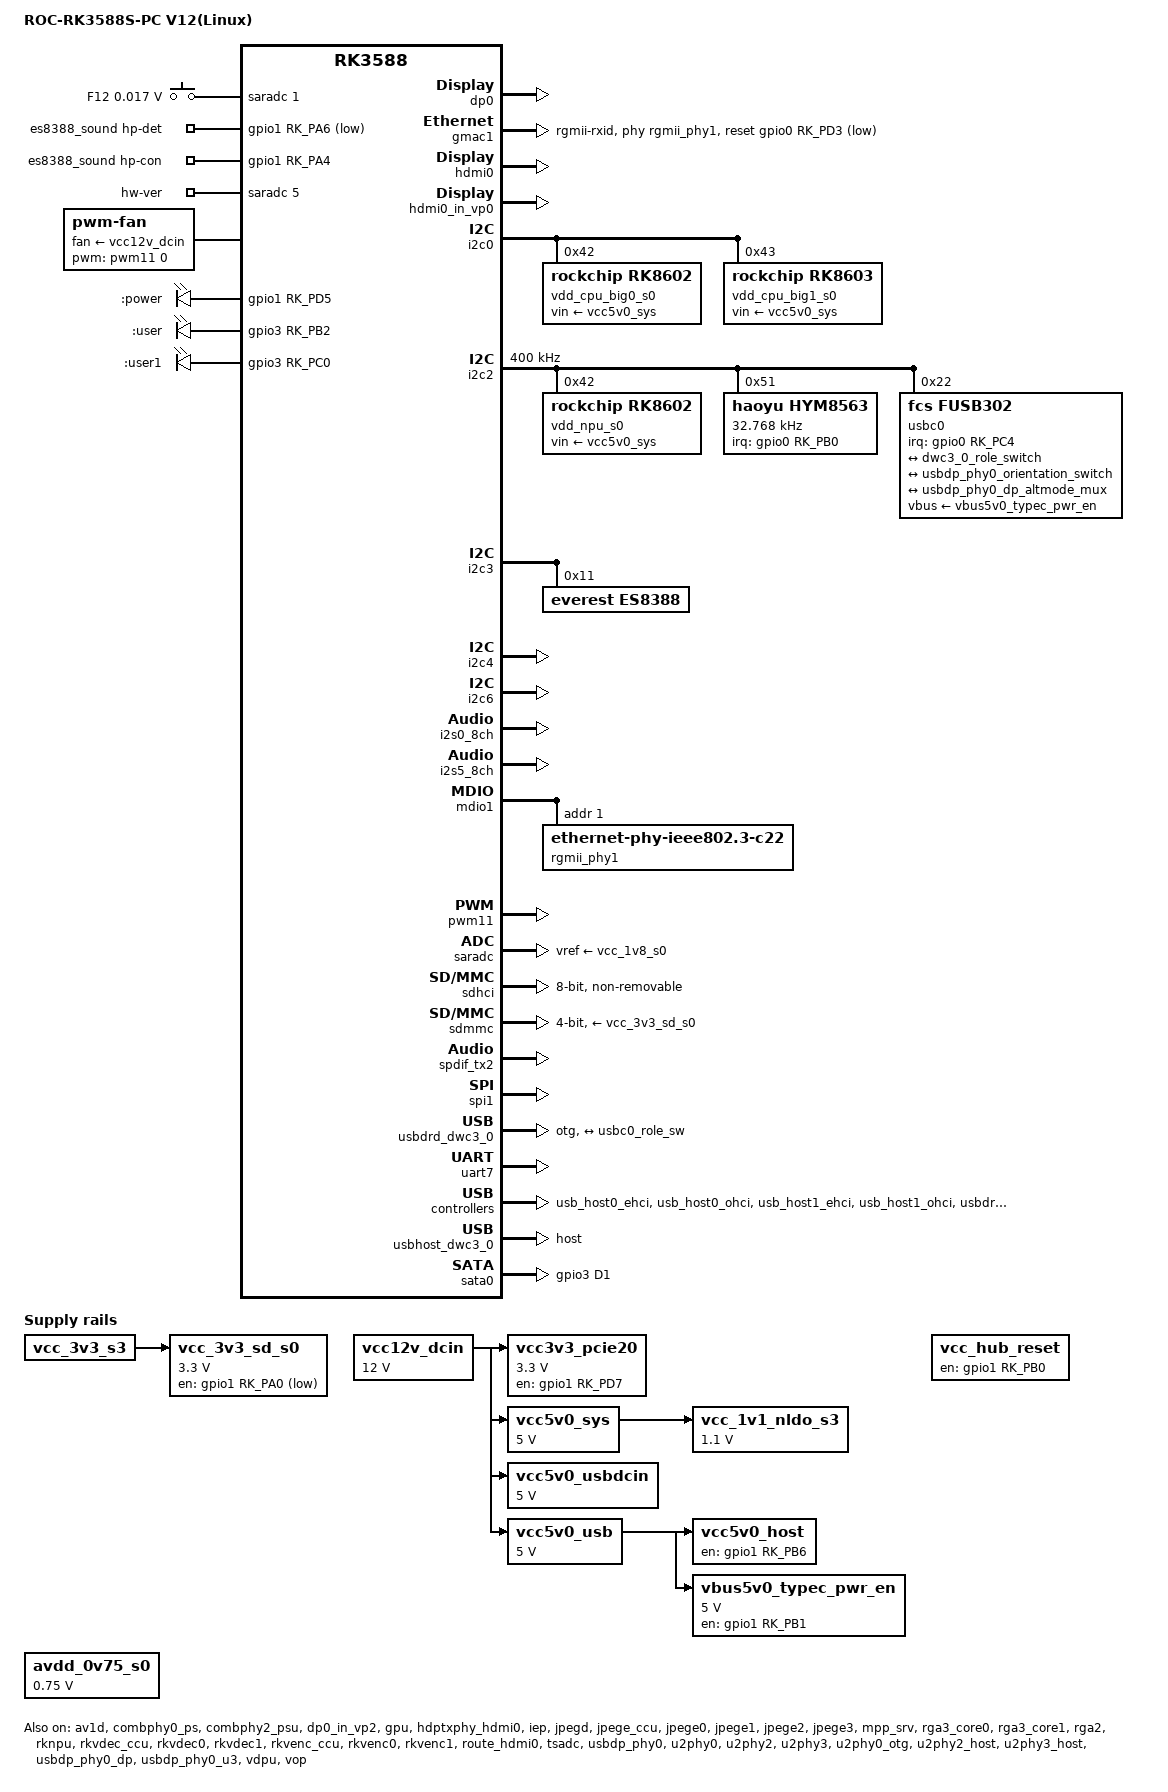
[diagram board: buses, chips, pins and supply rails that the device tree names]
// SPDX-License-Identifier: (GPL-2.0+ OR MIT)
/*
 * Copyright (c) 2021 Rockchip Electronics Co., Ltd.
 *
 */

/dts-v1/;

#include <dt-bindings/usb/pd.h>
#include <dt-bindings/gpio/gpio.h>
#include <dt-bindings/pwm/pwm.h>
#include <dt-bindings/pinctrl/rockchip.h>
#include <dt-bindings/input/rk-input.h>
#include <dt-bindings/display/drm_mipi_dsi.h>
#include <dt-bindings/display/rockchip_vop.h>
#include <dt-bindings/sensor-dev.h>

#include "rk3588s.dtsi"
#include "rk3588-rk806-single.dtsi"
#include "rk3588-linux.dtsi"

#define M2_SATA_OR_PCIE 1

/ {
	model = "ROC-RK3588S-PC V12(Linux)";
	compatible = "firefly,roc-rk3588s-pc", "firefly,station-m3", "rockchip,rk3588";

	adc_keys: adc-keys {
		status = "okay";
		compatible = "adc-keys";
		io-channels = <&saradc 1>;
		io-channel-names = "buttons";
		keyup-threshold-microvolt = <1800000>;
		poll-interval = <100>;

		recovery-key{
			label = "F12";
			linux,code = <KEY_F12>;
			press-threshold-microvolt = <17000>;
		};
	};

	dp0_sound: dp0-sound {
		status = "okay";
		compatible = "rockchip,hdmi";
		rockchip,card-name= "rockchip-dp0";
		rockchip,mclk-fs = <512>;
		rockchip,cpu = <&spdif_tx2>;
		rockchip,codec = <&dp0 1>;
		rockchip,jack-det;
	};

	es8388_sound: es8388-sound {
		status = "okay";
		compatible = "rockchip,multicodecs-card";
		rockchip,card-name = "rockchip-es8388";
		hp-det-gpio = <&gpio1 RK_PA6 GPIO_ACTIVE_LOW>;
		hp-con-gpio = <&gpio1 RK_PA4 GPIO_ACTIVE_HIGH>;
		hw-ver =<0x1>;
		io-channels = <&saradc 5>;
		io-channel-names = "hw-ver";
		linein-type = <1>;
		rockchip,format = "i2s";
		rockchip,mclk-fs = <384>;
		rockchip,cpu = <&i2s0_8ch>;
		rockchip,codec = <&es8388>;
		rockchip,audio-routing =
			"Headphone", "LOUT2",
			"Headphone", "ROUT2",
			"Speaker", "LOUT1",
			"Speaker", "ROUT1",
			"Headphone", "Headphone Power",
			"Headphone", "Headphone Power",
			"LINPUT1", "Main Mic",
			"RINPUT1", "Main Mic",
			"LINPUT2", "Headset Mic",
			"RINPUT2", "Headset Mic";
		pinctrl-names = "default";
		pinctrl-0 = <&hp_det>;
	};

	fan: pwm-fan {
		compatible = "pwm-fan";
		#cooling-cells = <2>;
		fan-supply = <&vcc12v_dcin>;
		cooling-levels = <60 100 140 160 185 220 255>;
		pwms = <&pwm11 0 50000 1>;
	};

	firefly_leds: leds {
		status = "okay";
		compatible = "gpio-leds";
		pinctrl-names = "default";
		pinctrl-0 =<&leds_gpio>;
		power_led: power {
			label = ":power"; //green led
			linux,default-trigger = "ir-power-click";
			default-state = "on";
			gpios = <&gpio1 RK_PD5 GPIO_ACTIVE_HIGH>;//blue led
		};

		user_led: user {
			label = ":user"; //yellow led
			linux,default-trigger = "ir-user-click";
			default-state = "off";
			gpios = <&gpio3 RK_PB2 GPIO_ACTIVE_HIGH>;//red led
		};

		user1_led: user1 {
			label = ":user1"; 
			default-state = "off";
			gpios = <&gpio3 RK_PC0 GPIO_ACTIVE_HIGH>;//green led
		};
	};

	hdmi0_sound: hdmi0-sound {
		status = "disabled";
		compatible = "rockchip,hdmi";
		rockchip,mclk-fs = <128>;
		rockchip,card-name = "rockchip-hdmi0";
		rockchip,cpu = <&i2s5_8ch>;
		rockchip,codec = <&hdmi0>;
		rockchip,jack-det;
	};

	lcd_rst: lcd_rst {
		status = "disabled";
		compatible = "regulator-fixed";
		regulator-name = "lcd_rst";
		regulator-boot-on;
		regulator-always-on;
		regulator-min-microvolt = <3300000>;
		regulator-max-microvolt = <3300000>;
		enable-active-high;
		gpio = <&gpio1 RK_PA1 GPIO_ACTIVE_HIGH>;
		startup-delay-us = <2000>;
		vin-supply = <&vcc12v_dcin>;
	};

	lcd_en: lcd_en {
		status = "disabled";
		compatible = "regulator-fixed";
		regulator-name = "lcd_en";
		regulator-boot-on;
		regulator-always-on;
		regulator-min-microvolt = <3300000>;
		regulator-max-microvolt = <3300000>;
		enable-active-high;
		gpio = <&gpio1 RK_PB3 GPIO_ACTIVE_HIGH>;
		vin-supply = <&vcc12v_dcin>;
	};

	spdif_tx1_dc: spdif-tx1-dc {
		status = "disabled";
		compatible = "linux,spdif-dit";
		#sound-dai-cells = <0>;
	};

	spdif_tx1_sound: spdif-tx1-sound {
		status = "disabled";
		compatible = "simple-audio-card";
		simple-audio-card,mclk-fs = <128>;
		simple-audio-card,name = "rockchip,spdif-tx1";
		simple-audio-card,cpu {
			sound-dai = <&spdif_tx1>;
		};
		simple-audio-card,codec {
			sound-dai = <&spdif_tx1_dc>;
		};
	};

	test-power {
		status = "okay";
	};

	vcc12v_dcin: vcc12v-dcin {
		compatible = "regulator-fixed";
		regulator-name = "vcc12v_dcin";
		regulator-always-on;
		regulator-boot-on;
		regulator-min-microvolt = <12000000>;
		regulator-max-microvolt = <12000000>;
	};

	vcc3v3_pcie20: vcc3v3-pcie20 {
		compatible = "regulator-fixed";
		regulator-name = "vcc3v3_pcie20";
		regulator-min-microvolt = <3300000>;
		regulator-max-microvolt = <3300000>;
		regulator-always-on;
		enable-active-high;
		gpios = <&gpio1 RK_PD7 GPIO_ACTIVE_HIGH>;
		startup-delay-us = <5000>;
		vin-supply = <&vcc12v_dcin>;
	};

	vcc5v0_host: vcc5v0-host {
		status = "okay";
		compatible = "regulator-fixed";
		regulator-name = "vcc5v0_host";
		regulator-boot-on;
		regulator-always-on;
		reset-delay-us = <200000>;
		startup-delay-us = <1200000>;
		enable-active-high;
		gpio = <&gpio1 RK_PB6 GPIO_ACTIVE_HIGH>;
		pinctrl-names = "default";
		pinctrl-0 = <&vcc5v0_host_en>;
		vin-supply = <&vcc5v0_usb>;
	};

	vcc5v0_sys: vcc5v0-sys {
		compatible = "regulator-fixed";
		regulator-name = "vcc5v0_sys";
		regulator-always-on;
		regulator-boot-on;
		regulator-min-microvolt = <5000000>;
		regulator-max-microvolt = <5000000>;
		vin-supply = <&vcc12v_dcin>;
	};

	vbus5v0_typec_pwr_en: vbus5v0-typec-pwr-en-regulator {
		status = "okay";
		compatible = "regulator-fixed";
		enable-active-high;
		regulator-name = "vbus5v0_typec_pwr_en";
		regulator-min-microvolt = <5000000>;
		regulator-max-microvolt = <5000000>;
		gpio = <&gpio1 RK_PB1 GPIO_ACTIVE_HIGH>;
		vin-supply = <&vcc5v0_usb>;
		pinctrl-names = "default";
		pinctrl-0 = <&typec5v_pwren>;
	};

	vcc5v0_usbdcin: vcc5v0-usbdcin {
		compatible = "regulator-fixed";
		regulator-name = "vcc5v0_usbdcin";
		regulator-always-on;
		regulator-boot-on;
		regulator-min-microvolt = <5000000>;
		regulator-max-microvolt = <5000000>;
		vin-supply = <&vcc12v_dcin>;
	};

	vcc5v0_usb: vcc5v0-usb {
		compatible = "regulator-fixed";
		regulator-name = "vcc5v0_usb";
		regulator-always-on;
		regulator-boot-on;
		regulator-min-microvolt = <5000000>;
		regulator-max-microvolt = <5000000>;
		vin-supply = <&vcc12v_dcin>;
	};

	vcc_1v1_nldo_s3: vcc-1v1-nldo-s3 {
		compatible = "regulator-fixed";
		regulator-name = "vcc_1v1_nldo_s3";
		regulator-always-on;
		regulator-boot-on;
		regulator-min-microvolt = <1100000>;
		regulator-max-microvolt = <1100000>;
		vin-supply = <&vcc5v0_sys>;
	};

	vcc_3v3_sd_s0: vcc-3v3-sd-s0 {
		compatible = "regulator-fixed";
		regulator-name = "vcc_3v3_sd_s0";
		regulator-min-microvolt = <3300000>;
		regulator-max-microvolt = <3300000>;
		gpios = <&gpio1 RK_PA0 GPIO_ACTIVE_LOW>;
		enable-active-low;
		vin-supply = <&vcc_3v3_s3>;
			regulator-state-mem {
			regulator-off-in-suspend;
		};
	};

	vcc_hub_reset: vcc-hub-reset-regulator {
		status = "okay";
		compatible = "regulator-fixed"; 
		regulator-name = "vcc_hub_reset";
		regulator-boot-on;
		regulator-always-on; 
		enable-active-high;
		gpio = <&gpio1 RK_PB0 GPIO_ACTIVE_HIGH>;
	};

};

&chosen {
	bootargs = "earlycon=uart8250,mmio32,0xfeb50000 console=ttyFIQ0 coherent_pool=1m irqchip.gicv3_pseudo_nmi=0";
};

&av1d {
	status = "okay";
};

&av1d_mmu {
	status = "okay";
};

/* default use sata3.0 , pcie2.0 optional*/
&combphy0_ps {
	status = "okay";
};

/* usb3.0 */
&combphy2_psu {
	status = "okay";
};

&cpu_l0 {
	cpu-supply = <&vdd_cpu_lit_s0>;
	mem-supply = <&vdd_cpu_lit_mem_s0>;
};

&cpu_b0 {
	cpu-supply = <&vdd_cpu_big0_s0>;
	mem-supply = <&vdd_cpu_big0_mem_s0>;
};

&cpu_b2 {
	cpu-supply = <&vdd_cpu_big1_s0>;
	mem-supply = <&vdd_cpu_big1_mem_s0>;
};

&display_subsystem {
       clocks = <&hdptxphy_hdmi_clk0>;
       clock-names = "hdmi0_phy_pll";
};

&dp0 {
	status = "okay";
};

&dp0_in_vp2 {
	status = "okay";
};

&gmac1 {
	status = "okay";
	/* Use rgmii-rxid mode to disable rx delay inside Soc */
	phy-mode = "rgmii-rxid";
	clock_in_out = "output";

 	snps,reset-gpio = <&gpio0 RK_PD3 GPIO_ACTIVE_LOW>;
	snps,reset-active-low;
	/* Reset time is 20ms, 100ms for rtl8211f */
	snps,reset-delays-us = <0 20000 100000>;

	pinctrl-names = "default";
	pinctrl-0 = <&gmac1_miim
			&gmac1_tx_bus2
			&gmac1_rx_bus2
			&gmac1_rgmii_clk
			&gmac1_rgmii_bus>;

	tx_delay = <0x43>;
	//rx_delay = <0x4f>;

	phy-handle = <&rgmii_phy1>;
};

&gpu {
	status = "okay";
	mali-supply = <&vdd_gpu_s0>;
	mem-supply = <&vdd_gpu_mem_s0>;
};

/* hdmi0 */
&hdmi0 {
	status = "okay";
	enable-gpios = <&gpio4 RK_PB2 GPIO_ACTIVE_HIGH>;
};

&hdmi0_in_vp0 {
	status = "okay";
};

&hdmi0_sound {
	status = "okay";
};

&hdptxphy_hdmi0 {
	status = "okay";
};

&hdptxphy_hdmi_clk0 {
       status = "okay";
};

&i2c0 {
	status = "okay";
	pinctrl-0 = <&i2c0m2_xfer>;

	vdd_cpu_big0_s0: vdd_cpu_big0_mem_s0: rk8602@42 {
		compatible = "rockchip,rk8602";
		reg = <0x42>;
		vin-supply = <&vcc5v0_sys>;
		regulator-compatible = "rk860x-reg";
		regulator-name = "vdd_cpu_big0_s0";
		regulator-min-microvolt = <550000>;
		regulator-max-microvolt = <1050000>;
		regulator-ramp-delay = <2300>;
		rockchip,suspend-voltage-selector = <1>;
		regulator-boot-on;
		regulator-always-on;
		regulator-state-mem {
			regulator-off-in-suspend;
		};
	};

	vdd_cpu_big1_s0: vdd_cpu_big1_mem_s0: rk8603@43 {
		compatible = "rockchip,rk8603";
		reg = <0x43>;
		vin-supply = <&vcc5v0_sys>;
		regulator-compatible = "rk860x-reg";
		regulator-name = "vdd_cpu_big1_s0";
		regulator-min-microvolt = <550000>;
		regulator-max-microvolt = <1050000>;
		regulator-ramp-delay = <2300>;
		rockchip,suspend-voltage-selector = <1>;
		regulator-boot-on;
		regulator-always-on;
		regulator-state-mem {
			regulator-off-in-suspend;
		};
	};
};

&i2c2 {
	status = "okay";

	vdd_npu_s0: vdd_npu_mem_s0: rk8602@42 {
		compatible = "rockchip,rk8602";
		reg = <0x42>;
		vin-supply = <&vcc5v0_sys>;
		regulator-compatible = "rk860x-reg";
		regulator-name = "vdd_npu_s0";
		regulator-min-microvolt = <550000>;
		regulator-max-microvolt = <950000>;
		regulator-ramp-delay = <2300>;
		rockchip,suspend-voltage-selector = <1>;
		regulator-boot-on;
		regulator-always-on;
		regulator-state-mem {
			regulator-off-in-suspend;
		};
	};
};

&i2c2 {
	status = "okay";
	clock-frequency = <400000>; // For others Display Port Screen
	pinctrl-names = "default";
	pinctrl-0 = <&i2c2m0_xfer>;

	hym8563: hym8563@51 {
		status = "okay";
		compatible = "haoyu,hym8563";
		reg = <0x51>;
		#clock-cells = <0>;
		clock-frequency = <32768>;
		clock-output-names = "hym8563";
		pinctrl-names = "default";
		pinctrl-0 = <&hym8563_int>;
		interrupt-parent = <&gpio0>;
		interrupts = <RK_PB0 IRQ_TYPE_LEVEL_LOW>;
		wakeup-source;
	};

	usbc0: fusb302@22 {
		status = "okay";
		compatible = "fcs,fusb302";
		reg = <0x22>;
		interrupt-parent = <&gpio0>;
		interrupts = <RK_PC4 IRQ_TYPE_LEVEL_LOW>;
		pinctrl-names = "default";
		pinctrl-0 = <&usbc0_int>;
		vbus-supply = <&vbus5v0_typec_pwr_en>;

		ports {
			#address-cells = <1>;
			#size-cells = <0>;

			port@0 {
				reg = <0>;
				usbc0_role_sw: endpoint@0 {
					remote-endpoint = <&dwc3_0_role_switch>;
				};
			};
		};

		usb_con: connector {
			compatible = "usb-c-connector";
			label = "USB-C";
			data-role = "dual";
			power-role = "dual";
			try-power-role = "sink";
			op-sink-microwatt = <1000000>;
			sink-pdos =
				<PDO_FIXED(5000, 1000, PDO_FIXED_USB_COMM)>;
			source-pdos =
				<PDO_FIXED(5000, 3000, PDO_FIXED_USB_COMM)>;

			altmodes {
				#address-cells = <1>;
				#size-cells = <0>;

				altmode@0 {
					reg = <0>;
					svid = <0xff01>;
					vdo = <0xffffffff>;
				};
			};

			ports {
				#address-cells = <1>;
				#size-cells = <0>;

				port@0 {
					reg = <0>;
					usbc0_orien_sw: endpoint {
						remote-endpoint = <&usbdp_phy0_orientation_switch>;
					};
				};

				port@1 {
					reg = <1>;
					dp_altmode_mux: endpoint {
						remote-endpoint = <&usbdp_phy0_dp_altmode_mux>;
					};
				};
			};
		};
	};
};

&i2c3 {
	status = "okay";
	es8388: es8388@11 {
		status = "okay";
		#sound-dai-cells = <0>;
		compatible = "everest,es8388", "everest,es8323";
		reg = <0x11>;
		clocks = <&mclkout_i2s0>;
		clock-names = "mclk";
		assigned-clocks = <&mclkout_i2s0>;
		assigned-clock-rates = <12288000>;
		pinctrl-names = "default";
		pinctrl-0 = <&i2s0_mclk>;
	};
};

&i2c4 {
	status = "okay";
	pinctrl-names = "default";
	pinctrl-0 = <&i2c4m3_xfer>;
};

&i2c5 {
	status = "disabled";
};

&i2c6 {
	status = "okay";
   	pinctrl-names = "default";
    pinctrl-0 = <&i2c6m3_xfer>;
};

&i2s0_8ch {
	status = "okay";
	pinctrl-0 = <&i2s0_lrck
				&i2s0_sclk
				&i2s0_sdi0
				&i2s0_sdo0>;
};

&i2s5_8ch {
	status = "okay";
};

&soc_thermal {
	sustainable-power = <5000>; /* milliwatts */
	polling-delay = <1000>;
	polling-delay-passive = <2000>;
	trips {
		trip0: trip-point@0 {
			temperature = <55000>;
			hysteresis = <5000>;
			type = "active";
		};
		trip1: trip-point@1 {
			temperature = <60000>;
			hysteresis = <5000>;
			type = "active";
		};
		trip2: trip-point@2 {
			temperature = <65000>;
			hysteresis = <5000>;
			type = "active";
		};
		trip3: trip-point@3 {
			temperature = <70000>;
			hysteresis = <5000>;
			type = "active";
		};
		trip4: trip-point@4 {
			temperature = <75000>;
			hysteresis = <5000>;
			type = "active";
		};
		pcritical: trip-point@5 {
			temperature = <80000>;
			hysteresis = <1000>;
			type = "active";
		};
	};
	cooling-maps {
		map0 {
			trip = <&trip0>;
			cooling-device = <&fan 0 1>;
			contribution = <1024>;
		};
		map1 {
			trip = <&trip1>;
			cooling-device = <&fan 1 2>;
			contribution = <1024>;
		};
		map2 {
			trip = <&trip2>;
			cooling-device = <&fan 2 3>;
			contribution = <1024>;
		};
		map3 {
			trip = <&trip3>;
			cooling-device = <&fan 3 4>;
			contribution = <1024>;
		};
		map4 {
			trip = <&trip4>;
			cooling-device = <&fan 4 5>;
			contribution = <1024>;
		};
		map5 {
			trip = <&pcritical>;
			cooling-device = <&fan 5 6>;
			contribution = <1024>;
		};
	};
};

&iep {
	status = "okay";
};

&iep_mmu {
	status = "okay";
};

&jpegd {
	status = "okay";
};

&jpegd_mmu {
	status = "okay";
};

&jpege_ccu {
	status = "okay";
};

&jpege0 {
	status = "okay";
};

&jpege0_mmu {
	status = "okay";
};

&jpege1 {
	status = "okay";
};

&jpege1_mmu {
	status = "okay";
};

&jpege2 {
	status = "okay";
};

&jpege2_mmu {
	status = "okay";
};

&jpege3 {
	status = "okay";
};

&jpege3_mmu {
	status = "okay";
};

&mdio1 {
	rgmii_phy1: phy@1 {
		compatible = "ethernet-phy-ieee802.3-c22";
		reg = <0x1>;
	};
};

&mpp_srv {
	status = "okay";
};

&pwm11 {
	status = "okay";
	pinctrl-0 = <&pwm11m3_pins>;
};

&rga3_core0 {
	status = "okay";
};

&rga3_0_mmu {
	status = "okay";
};

&rga3_core1 {
	status = "okay";
};

&rga3_1_mmu {
	status = "okay";
};

&rga2 {
	status = "okay";
};

&rknpu {
	status = "okay";
	rknpu-supply = <&vdd_npu_s0>;
	mem-supply = <&vdd_npu_mem_s0>;
};

&rknpu_mmu {
	status = "okay";
};

&rkvdec_ccu {
	status = "okay";
};

&rkvdec0 {
	status = "okay";
};

&rkvdec0_mmu {
	status = "okay";
};

&rkvdec1 {
	status = "okay";
};

&rkvdec1_mmu {
	status = "okay";
};

&rkvenc_ccu {
	status = "okay";
};

&rkvenc0 {
	status = "okay";
};

&rkvenc0_mmu {
	status = "okay";
};

&rkvenc1 {
	status = "okay";
};

&rkvenc1_mmu {
	status = "okay";
};

&rockchip_suspend {
	status = "okay";
	rockchip,sleep-debug-en = <0>;
	rockchip,sleep-mode-config = <
		(0
		| RKPM_SLP_ARMOFF_DDRPD
		)
	>;
	rockchip,wakeup-config = <
		(0
		| RKPM_GPIO_WKUP_EN
		| RKPM_USB_WKUP_EN
		)
	>;

};

&route_hdmi0{
	status = "okay";
};

&saradc {
	status = "okay";
	vref-supply = <&vcc_1v8_s0>;
};

&sdhci {
	status = "okay";
	bus-width = <8>;
	no-sdio;
	no-sd;
	non-removable;
	max-frequency = <200000000>;
	mmc-hs400-1_8v;
	mmc-hs400-enhanced-strobe;
};

&sdmmc {
	status = "okay";
	max-frequency = <150000000>;
	no-sdio;
	no-mmc;
	bus-width = <4>;
	cap-mmc-highspeed;
	cap-sd-highspeed;
	disable-wp;
	sd-uhs-sdr104;
	vmmc-supply = <&vcc_3v3_sd_s0>;
	vqmmc-supply = <&vccio_sd_s0>;
};

&spdif_tx2{
	status = "okay";
};

/* spi1 */
&spi1 {
	status = "okay";
	pinctrl-names = "default";
	pinctrl-0 = <&spi1m2_cs0 &spi1m2_pins>;
	num-cs = <1>;
};

/* PMIC spi2 */
&spi2 {
	pinctrl-names = "default";
	pinctrl-0 = <&spi2m2_cs0 &spi2m2_pins>;
	num-cs = <1>;
};

&tsadc {
	status = "okay";
};

//usb
&usbdp_phy0 {
	status = "okay";
	orientation-switch;
	svid = <0xff01>;
	sbu1-dc-gpios = <&gpio4 RK_PB5 GPIO_ACTIVE_HIGH>;
	sbu2-dc-gpios = <&gpio4 RK_PA7 GPIO_ACTIVE_HIGH>;

	port {
		#address-cells = <1>;
		#size-cells = <0>;
		usbdp_phy0_orientation_switch: endpoint@0 {
			reg = <0>;
			remote-endpoint = <&usbc0_orien_sw>;
		};

		usbdp_phy0_dp_altmode_mux: endpoint@1 {
			reg = <1>;
			remote-endpoint = <&dp_altmode_mux>;
		};
	};
};

&usbdrd_dwc3_0 {
	status = "okay";
	dr_mode = "otg";
	usb-role-switch;
	port {
		#address-cells = <1>;
		#size-cells = <0>;
		dwc3_0_role_switch: endpoint@0 {
			reg = <0>;
			remote-endpoint = <&usbc0_role_sw>;
		};
	};
};

&u2phy0 {
	status = "okay";
};

&u2phy2 {
	status = "okay";
};

&u2phy3 {
	status = "okay";
};

&u2phy0_otg {
	status = "okay";
	rockchip,typec-vbus-det; 
};

&u2phy2_host {
	status = "okay";
	phy-supply = <&vcc5v0_host>; 
};

&u2phy3_host {
	status = "okay";
	phy-supply = <&vcc5v0_host>; 
};

/* uart7 */
&uart7{
	status = "okay";
	pinctrl-0 = <&uart7m2_xfer>;
};

&usb_host0_ehci {
	status = "okay";
};

&usb_host0_ohci {
	status = "okay";
};

&usb_host1_ehci {
	status = "okay";
};

&usb_host1_ohci {
	status = "okay";
};

&usbdp_phy0_dp {
	status = "okay";
};

&usbdp_phy0_u3 {
	status = "okay";
};

&usbdrd3_0 {
	status = "okay";
};

&usbhost3_0 {
	status = "okay";
};

&usbhost_dwc3_0 {
	status = "okay";
	dr_mode = "host";
};

&vdpu {
	status = "okay";
};

&vdpu_mmu {
	status = "okay";
};

&vop {
	status = "okay";
};

&vop_mmu {
	status = "okay";
};

/* vp0 & vp1 splice for 8K output */
&vp0 {
	rockchip,plane-mask = <(1 << ROCKCHIP_VOP2_CLUSTER0 | 1 << ROCKCHIP_VOP2_ESMART0)>;
	rockchip,primary-plane = <ROCKCHIP_VOP2_ESMART0>;
	assigned-clocks = <&cru ACLK_VOP>;
	assigned-clock-rates = <800000000>;
};

&vp1 {
	rockchip,plane-mask = <(1 << ROCKCHIP_VOP2_CLUSTER1 | 1 << ROCKCHIP_VOP2_ESMART1)>;
	rockchip,primary-plane = <ROCKCHIP_VOP2_ESMART1>;
};

&vp2 {
	rockchip,plane-mask = <(1 << ROCKCHIP_VOP2_CLUSTER2 | 1 << ROCKCHIP_VOP2_ESMART2)>;
	rockchip,primary-plane = <ROCKCHIP_VOP2_ESMART2>;
};

&vp3 {
	rockchip,plane-mask = <(1 << ROCKCHIP_VOP2_CLUSTER3 | 1 << ROCKCHIP_VOP2_ESMART3)>;
	rockchip,primary-plane = <ROCKCHIP_VOP2_ESMART3>;
};

#if M2_SATA_OR_PCIE
&sata0 {
	status = "okay";
    pinctrl-names = "default";
    pinctrl-0 = <&sata_reset>;
};
#else
&pcie2x1l2 {
	status = "okay";
	reset-gpios = <&gpio3 RK_PD1 GPIO_ACTIVE_HIGH>;
	vpcie3v3-supply = <&vcc3v3_pcie20>;
};
#endif

&pinctrl {
	leds {
		leds_gpio: leds-gpio {
			rockchip,pins =
				/* led_user */
				<3 RK_PB2 RK_FUNC_GPIO &pcfg_pull_none>,
				/* led_power */
				<1 RK_PD5 RK_FUNC_GPIO &pcfg_pull_none>,
				/* led_user1 */
				<3 RK_PC0 RK_FUNC_GPIO &pcfg_pull_none>;
		};
	};

	headphone {
		hp_det: hp-det {
			rockchip,pins = <1 RK_PA6 RK_FUNC_GPIO &pcfg_pull_none>;
		};
	};

	hym8563 {
		hym8563_int: hym8563-int {
			rockchip,pins = <0 RK_PB0 RK_FUNC_GPIO &pcfg_pull_up>;
		};
	};

	usb {
		vcc5v0_host_en: vcc5v0-host-en {
			rockchip,pins = <1 RK_PB6 RK_FUNC_GPIO &pcfg_pull_none>;
		};
	};

	usb-typec {
		usbc0_int: usbc0-int {
			rockchip,pins = <0 RK_PC4 RK_FUNC_GPIO &pcfg_pull_up>;
		};

		typec5v_pwren: typec5v-pwren {
			rockchip,pins = <1 RK_PB1 RK_FUNC_GPIO &pcfg_pull_none>;
		};
	};
#if M2_SATA_OR_PCIE
	sata {
		sata_reset:sata-reset{
			rockchip,pins = <3 RK_PD1 RK_FUNC_GPIO &pcfg_pull_up>;
		};
	};
#endif
};

// for fan when deep sleep
&vdd_log_s0{
       regulator-state-mem {
               regulator-on-in-suspend;
               regulator-suspend-microvolt = <750000>;
       };
};

&avcc_1v8_s0{
       regulator-state-mem {
               regulator-on-in-suspend;
			   regulator-suspend-microvolt = <1800000>;
       };
};

&vcc_1v8_s0{
       regulator-state-mem {
               regulator-on-in-suspend;
               regulator-suspend-microvolt = <1800000>;
       };
};

// for usb wakeup when deep sleep
&avdd_0v75_s0{
		regulator-min-microvolt = <750000>;
		regulator-max-microvolt = <750000>;
		regulator-state-mem {
			regulator-on-in-suspend;
			regulator-suspend-microvolt = <750000>;
		};
};

&vcc_3v3_s0{
		regulator-state-mem {
			regulator-on-in-suspend;
			regulator-suspend-microvolt = <3300000>;
		};
};
